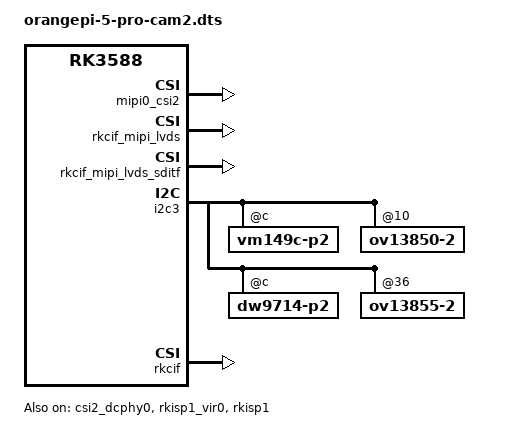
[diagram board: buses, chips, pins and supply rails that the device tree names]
/dts-v1/;
/plugin/;

/ {
	compatible = "rockchip,rk3588s-orangepi-5", "rockchip,rk3588";

	fragment@0 {
		target = <&csi2_dcphy0>;

		__overlay__ {
			status = "okay";
		};
	};

	fragment@1 {
		target = <&mipi0_csi2>;

		__overlay__ {
			status = "okay";
		};
	};

	fragment@2 {
		target = <&rkcif_mipi_lvds>;

		__overlay__ {
			status = "okay";
		};
	};

	fragment@3 {
		target = <&rkcif_mipi_lvds_sditf>;

		__overlay__ {
			status = "okay";
		};
	};

	fragment@4 {
		target = <&rkisp1_vir0>;

		__overlay__ {
			status = "okay";
		};
	};

	fragment@6 {
		target = <&i2c3>;

		__overlay__ {
			status = "okay";

			vm149c-p2@c {
				status = "okay";
			};

			ov13850-2@10 {
				status = "okay";
			};

			dw9714-p2@c {
				status = "okay";
			};

			ov13855-2@36 {
				status = "okay";
			};
		};
	};

	fragment@7 {
		target = <&rkcif>;

		__overlay__ {
		        status = "okay";
		};
	};

	fragment@8 {
		target = <&rkcif_mmu>;

		__overlay__ {
			status = "okay";
		};
	};

	fragment@9 {
		target = <&rkisp1>;

		__overlay__ {
			status = "okay";
		};
	};

	fragment@10 {
		target = <&isp1_mmu>;

		__overlay__ {
			status = "okay";
		};
	};
};
